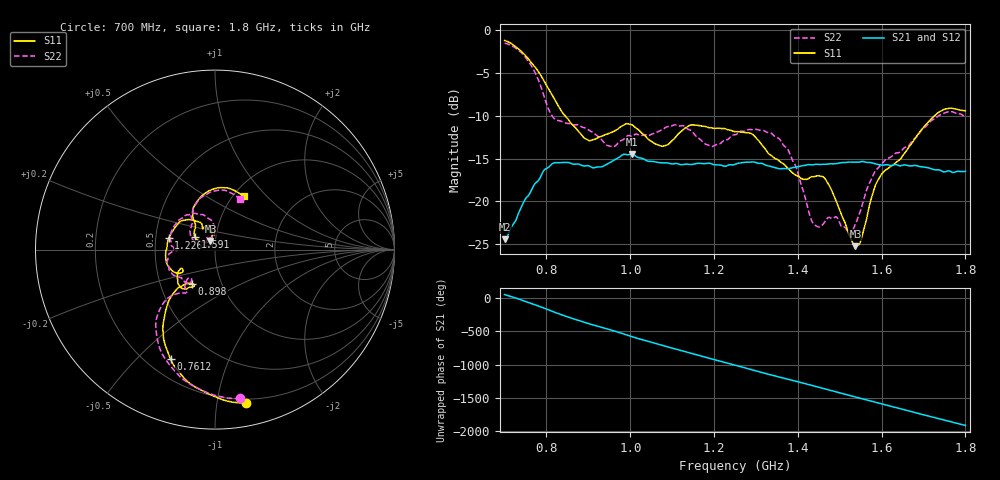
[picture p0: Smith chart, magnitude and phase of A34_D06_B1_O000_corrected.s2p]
! Created with skrf 1.9.0 (http://scikit-rf.org).
# Hz S RI R 50.0
!freq ReS11 ImS11 ReS21 ImS21 ReS12 ImS12 ReS22 ImS22
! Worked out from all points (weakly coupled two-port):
!   1601 points, 700 MHz to 1.8 GHz, reference 50 ohm
!   highest |S21| = -14.47 dB at 1.003 GHz (marker M1); lowest = -24.5 dB at 700 MHz (marker M2)
!   lowest |S11| = -25.2 dB at 1.537 GHz (marker M3), VSWR 1.12, Z = 47.3 + j4.61 ohm
!   |S11| at or under -10 dB: 844.3 MHz to 1.726 GHz (881.8 MHz wide, 68.6 % of centre)
!   |S22| runs from -23.9 to -1.5 dB; largest |S21 - S12| = 0.0035
!   S11 on the Smith chart (normalised r, x): 700 MHz: 0.17, -1.21; 761.2 MHz: 0.29, -0.63; 898 MHz: 0.72, -0.29; 1.226 GHz: 0.59, +0.08; 1.591 GHz: 0.79, +0.11; 1.8 GHz: 1.12, +0.75
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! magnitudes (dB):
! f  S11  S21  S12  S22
! 700 MHz  -1.2  -24.5  -24.2  -1.5
! 761.2 MHz  -3.6  -19.0  -18.9  -3.9
! 816.2 MHz  -7.8  -15.5  -15.6  -10.2
! 883.6 MHz  -12.2  -15.8  -15.7  -11.3
! 898 MHz  -12.8  -15.8  -15.9  -11.6
! 954.4 MHz  -12.0  -15.4  -15.4  -13.6
! 1.003 GHz  -11.0  -14.5  -14.6  -12.4
! 1.067 GHz  -13.4  -15.5  -15.4  -11.8
! 1.144 GHz  -11.1  -15.7  -15.7  -11.7
! 1.226 GHz  -11.5  -15.9  -15.8  -12.8
! 1.25 GHz  -11.8  -15.7  -15.6  -12.2
! 1.357 GHz  -15.4  -16.2  -16.1  -12.8
! 1.395 GHz  -16.9  -16.0  -16.0  -15.9
! 1.434 GHz  -17.1  -15.7  -15.7  -22.3
! 1.469 GHz  -17.7  -15.7  -15.6  -22.0
! 1.524 GHz  -24.1  -15.4  -15.4  -23.9
! 1.537 GHz  -25.2  -15.4  -15.4  -22.7
! 1.551 GHz  -24.5  -15.4  -15.4  -20.9
! 1.591 GHz  -17.5  -15.7  -15.7  -16.1
! 1.617 GHz  -16.1  -15.8  -15.7  -14.9
! 1.734 GHz  -9.7  -16.3  -16.4  -10.1
! 1.8 GHz  -9.4  -16.5  -16.5  -10.1
